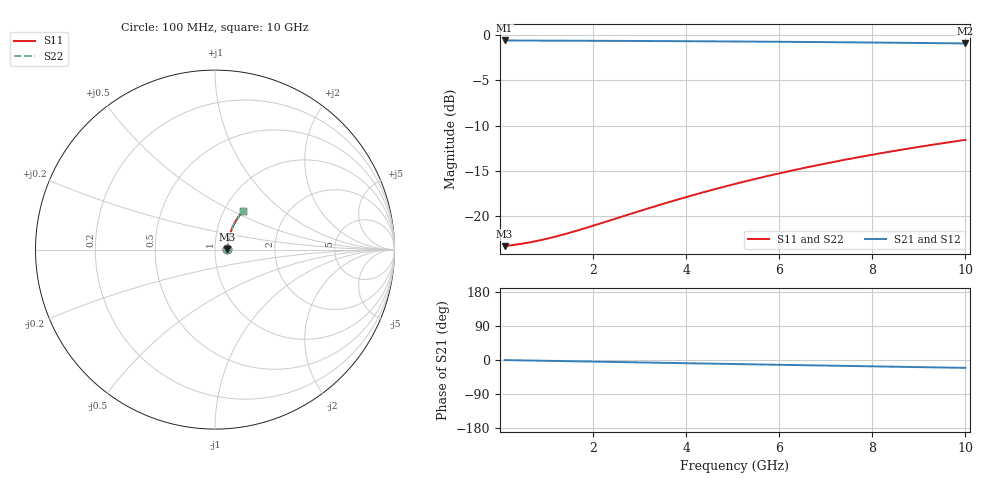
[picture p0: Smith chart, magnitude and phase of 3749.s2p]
# Hz S RI R 50.00
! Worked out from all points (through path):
!   100 points, 100 MHz to 10 GHz, reference 50 ohm
!   highest |S21| = -0.62 dB at 100 MHz (marker M1); lowest = -0.9 dB at 10 GHz (marker M2)
!   group delay of S21, straight-line fit = 5.78 ps
!   lowest |S11| = -23.3 dB at 100 MHz (marker M3), VSWR 1.15, Z = 57.3 + j0.278 ohm
!   |S11| at or under -10 dB: start of sweep to end of sweep
!   |S22| runs from -23.3 to -11.6 dB; largest |S21 - S12| = 0
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1e8  0.0684 0.00242  0.9316 -0.00346  0.9316 -0.00346  0.0684 0.00242
5e8  0.0698 0.012  0.9301 -0.0173  0.9301 -0.0173  0.0698 0.012
7e8  0.0704 0.0168  0.9296 -0.0242  0.9296 -0.0242  0.0704 0.0168
9e8  0.071 0.0216  0.929 -0.031  0.929 -0.031  0.071 0.0216
1.1e9  0.0716 0.0264  0.9284 -0.0379  0.9284 -0.0379  0.0716 0.0264
1.3e9  0.0722 0.0312  0.9277 -0.0448  0.9277 -0.0448  0.0722 0.0312
1.5e9  0.0729 0.0359  0.927 -0.0516  0.927 -0.0516  0.0729 0.0359
1.8e9  0.074 0.043  0.9258 -0.0618  0.9258 -0.0618  0.074 0.043
2.6e9  0.0776 0.0618  0.922 -0.089  0.922 -0.089  0.0776 0.0618
3.4e9  0.0822 0.0803  0.9171 -0.1159  0.9171 -0.1159  0.0822 0.0803
3.9e9  0.0856 0.0917  0.9135 -0.1325  0.9135 -0.1325  0.0856 0.0917
4.3e9  0.0886 0.1007  0.9103 -0.1457  0.9103 -0.1457  0.0886 0.1007
4.7e9  0.0919 0.1096  0.9068 -0.1587  0.9068 -0.1587  0.0919 0.1096
5.1e9  0.0954 0.1183  0.9031 -0.1717  0.9031 -0.1717  0.0954 0.1183
5.5e9  0.0991 0.1269  0.8992 -0.1845  0.8992 -0.1845  0.0991 0.1269
5.9e9  0.103 0.1354  0.8949 -0.1972  0.8949 -0.1972  0.103 0.1354
6.3e9  0.1072 0.1438  0.8905 -0.2098  0.8905 -0.2098  0.1072 0.1438
6.7e9  0.1116 0.152  0.8858 -0.2222  0.8858 -0.2222  0.1116 0.152
7.5e9  0.1211 0.1679  0.8756 -0.2465  0.8756 -0.2465  0.1211 0.1679
8.4e9  0.1327 0.185  0.8632 -0.2731  0.8632 -0.2731  0.1327 0.185
9.2e9  0.1438 0.1994  0.8513 -0.2959  0.8513 -0.2959  0.1438 0.1994
1e10  0.1556 0.213  0.8386 -0.318  0.8386 -0.318  0.1556 0.213
